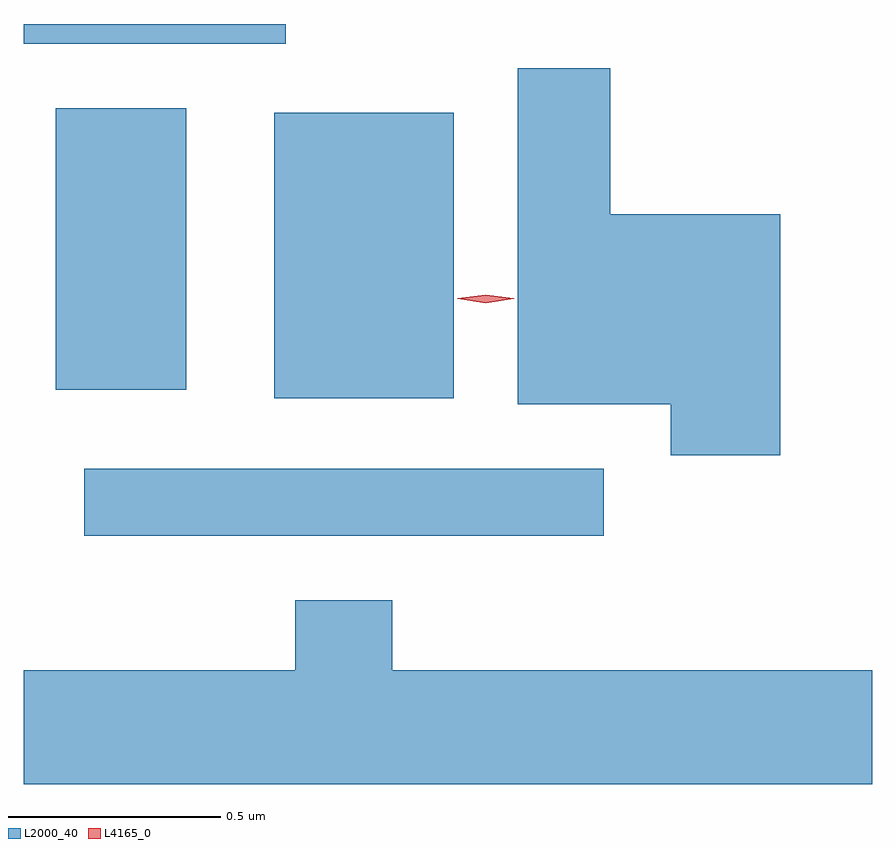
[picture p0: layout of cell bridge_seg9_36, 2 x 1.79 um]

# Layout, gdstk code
import gdstk
lib = gdstk.Library(unit=1e-6, precision=1e-09)
def R(c, l, rs):  # rectangles x0, y0, x1, y1
    for r in rs: c.add(gdstk.rectangle(r[:2], r[2:], *l))
def P(c, l, *ps):  # polygons
    for p in ps: c.add(gdstk.Polygon(p, *l))
L2000_40 = (2000, 40)
L4165_0 = (4165, 0)

bridge_seg9_36 = lib.new_cell('bridge_seg9_36')
R(bridge_seg9_36, L2000_40, [(1642.083,2027.921,1643.308,2028.079), (1642.531,2028.246,1642.954,2028.919), (1642.016,2028.266,1642.324,2028.929), (1641.941,2029.081,1642.559,2029.128)])
P(bridge_seg9_36, L2000_40, [(1643.724,2028.679),(1643.324,2028.679),(1643.324,2029.024),(1643.106,2029.024),(1643.106,2028.231),(1643.466,2028.231),(1643.466,2028.111),(1643.724,2028.111)],
  [(1643.941,2027.604),(1642.809,2027.604),(1642.809,2027.769),(1642.581,2027.769),(1642.581,2027.604),(1641.941,2027.604),(1641.941,2027.336),(1643.941,2027.336)])
P(bridge_seg9_36, L4165_0, [(1643.03,2028.47),(1642.964,2028.48),(1642.963,2028.48),(1642.964,2028.481),(1643.03,2028.49),(1643.096,2028.481),(1643.097,2028.48),(1643.096,2028.48)])

lib.write_gds('bridge_seg9_36.gds')
